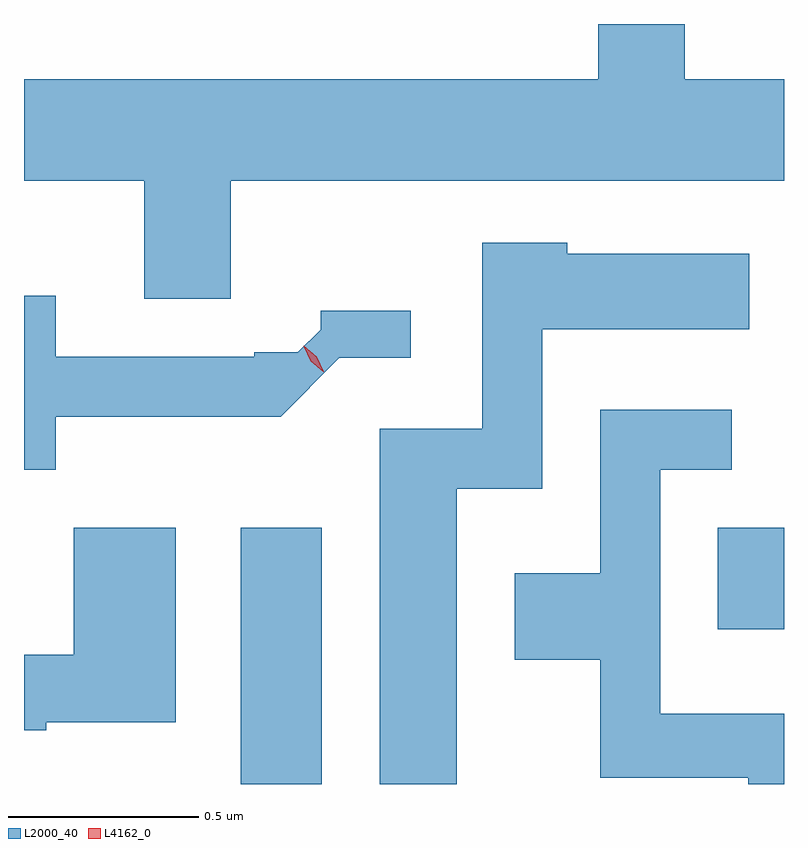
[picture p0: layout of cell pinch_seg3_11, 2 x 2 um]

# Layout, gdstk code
import gdstk
lib = gdstk.Library(unit=1e-6, precision=1e-09)
def R(c, l, rs):  # rectangles x0, y0, x1, y1
    for r in rs: c.add(gdstk.rectangle(r[:2], r[2:], *l))
def P(c, l, *ps):  # polygons
    for p in ps: c.add(gdstk.Polygon(p, *l))
L2000_40 = (2000, 40)
L4162_0 = (4162, 0)

pinch_seg3_11 = lib.new_cell('pinch_seg3_11')
R(pinch_seg3_11, L2000_40, [(826.906,1166.609,827.119,1167.284), (828.161,1167.016,828.335,1167.284)])
P(pinch_seg3_11, L2000_40, [(826.879,1168.196),(828.335,1168.196),(828.335,1168.464),(828.074,1168.464),(828.074,1168.609),(827.846,1168.609),(827.846,1168.464),(826.335,1168.464),(826.335,1168.196),(826.651,1168.196),(826.651,1167.886),(826.879,1167.886)],
  [(827.474,1167.386),(827.699,1167.386),(827.699,1167.806),(828.244,1167.806),(828.244,1168.004),(827.764,1168.004),(827.764,1168.034),(827.541,1168.034),(827.541,1167.544),(827.271,1167.544),(827.271,1166.609),(827.474,1166.609)],
  [(826.419,1167.576),(827.01,1167.576),(827.165,1167.731),(827.353,1167.731),(827.353,1167.854),(827.116,1167.854),(827.116,1167.805),(827.056,1167.745),(826.941,1167.745),(826.941,1167.734),(826.419,1167.734),(826.419,1167.894),(826.335,1167.894),(826.335,1167.436),(826.419,1167.436)],
  [(828.335,1166.794),(828.009,1166.794),(828.009,1167.436),(828.198,1167.436),(828.198,1167.594),(827.851,1167.594),(827.851,1167.164),(827.626,1167.164),(827.626,1166.936),(827.851,1166.936),(827.851,1166.626),(828.241,1166.626),(828.241,1166.609),(828.335,1166.609)],
  [(826.394,1166.771),(826.734,1166.771),(826.734,1167.284),(826.466,1167.284),(826.466,1166.949),(826.335,1166.949),(826.335,1166.751),(826.394,1166.751)])
P(pinch_seg3_11, L4162_0, [(827.123,1167.694),(827.09,1167.722),(827.071,1167.761),(827.071,1167.762),(827.071,1167.762),(827.105,1167.734),(827.124,1167.694),(827.124,1167.694)],
  [(827.119,1167.698),(827.09,1167.722),(827.075,1167.756),(827.075,1167.757),(827.076,1167.757),(827.105,1167.734),(827.119,1167.699),(827.119,1167.698)])

lib.write_gds('pinch_seg3_11.gds')
